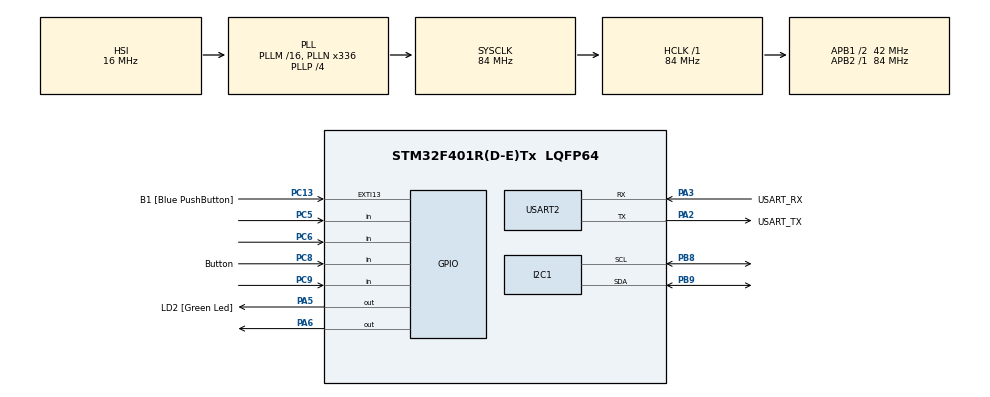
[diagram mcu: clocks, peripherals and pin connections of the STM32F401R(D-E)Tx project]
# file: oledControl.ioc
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Mcu.Family=STM32F4
Mcu.Name=STM32F401R(D-E)Tx
Mcu.Package=LQFP64
NVIC.PriorityGroup=NVIC_PRIORITYGROUP_0
PA13.GPIO_Label=TMS
PA13.Mode=Serial_Wire
PA13.Signal=SYS_JTMS-SWDIO
PA14.GPIO_Label=TCK
PA14.Mode=Serial_Wire
PA14.Signal=SYS_JTCK-SWCLK
PA2.GPIO_Label=USART_TX
PA2.GPIO_Mode=GPIO_MODE_AF_PP
PA2.GPIO_PuPd=GPIO_NOPULL
PA2.GPIO_Speed=GPIO_SPEED_FREQ_LOW
PA2.Mode=Asynchronous
PA2.Signal=USART2_TX
PA3.GPIO_Label=USART_RX
PA3.GPIO_Mode=GPIO_MODE_AF_PP
PA3.GPIO_PuPd=GPIO_NOPULL
PA3.GPIO_Speed=GPIO_SPEED_FREQ_LOW
PA3.Mode=Asynchronous
PA3.Signal=USART2_RX
PA5.GPIO_Label=LD2 [Green Led]
PA5.GPIO_Mode=GPIO_MODE_OUTPUT_PP
PA5.GPIO_PuPd=GPIO_NOPULL
PA5.GPIO_Speed=GPIO_SPEED_FREQ_LOW
PA5.PinState=GPIO_PIN_RESET
PA5.Signal=GPIO_Output
PA6.Signal=GPIO_Output
PB3.GPIO_Label=SWO
PB3.Signal=SYS_JTDO-SWO
PB8.Mode=I2C
PB8.Signal=I2C1_SCL
PB9.Mode=I2C
PB9.Signal=I2C1_SDA
PC13-ANTI_TAMP.GPIO_Label=B1 [Blue PushButton]
PC13-ANTI_TAMP.GPIO_ModeDefaultEXTI=GPIO_MODE_IT_FALLING
PC13-ANTI_TAMP.GPIO_PuPd=GPIO_NOPULL
PC13-ANTI_TAMP.Signal=GPXTI13
PC14-OSC32_IN.Mode=LSE-External-Oscillator
PC14-OSC32_IN.Signal=RCC_OSC32_IN
PC15-OSC32_OUT.Mode=LSE-External-Oscillator
PC15-OSC32_OUT.Signal=RCC_OSC32_OUT
PC5.GPIO_PuPd=GPIO_PULLDOWN
PC5.Signal=GPIO_Input
PC6.GPIO_PuPd=GPIO_PULLDOWN
PC6.Signal=GPIO_Input
PC8.GPIO_Label=Button
PC8.GPIO_PuPd=GPIO_PULLDOWN
PC8.Signal=GPIO_Input
PC9.GPIO_PuPd=GPIO_PULLDOWN
PC9.Signal=GPIO_Input
PH0\ -\ OSC_IN.Mode=HSE-External-Clock-Source
PH0\ -\ OSC_IN.Signal=RCC_OSC_IN
PH1\ -\ OSC_OUT.Mode=HSE-External-Clock-Source
PH1\ -\ OSC_OUT.Signal=RCC_OSC_OUT
ProjectManager.HeapSize=0x200
ProjectManager.StackSize=0x400
ProjectManager.TargetToolchain=STM32CubeIDE
RCC.48MHZClocksFreq_Value=48000000
RCC.AHBFreq_Value=84000000
RCC.APB1CLKDivider=RCC_HCLK_DIV2
RCC.APB1Freq_Value=42000000
RCC.APB1TimFreq_Value=84000000
RCC.APB2Freq_Value=84000000
RCC.APB2TimFreq_Value=84000000
RCC.CortexFreq_Value=84000000
RCC.HCLKFreq_Value=84000000
RCC.HSE_VALUE=8000000
RCC.HSI_VALUE=16000000
RCC.PLLN=336
RCC.PLLP=RCC_PLLP_DIV4
RCC.PLLQ=7
RCC.SYSCLKFreq_VALUE=84000000
RCC.SYSCLKSource=RCC_SYSCLKSOURCE_PLLCLK
RCC.VCOOutputFreq_Value=336000000
USART2.VirtualMode=VM_ASYNC
board=NUCLEO-F401RE

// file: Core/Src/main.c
/* USER CODE BEGIN Header */
/**
  ******************************************************************************
  * @file           : main.c
  * @brief          : Main program body
  ******************************************************************************
  * @attention
  *
  * Copyright (c) 2025 STMicroelectronics.
  * All rights reserved.
  *
  * This software is licensed under terms that can be found in the LICENSE file
  * in the root directory of this software component.
  * If no LICENSE file comes with this software, it is provided AS-IS.
  *
  ******************************************************************************
  */
/* USER CODE END Header */
#include "main.h"
#include "game.h"
#include "render.h"
#include "input.h"
#include "animation.h"
#include "sprites.h"

I2C_HandleTypeDef hi2c1;

UART_HandleTypeDef huart2;

void SystemClock_Config(void);
static void MX_GPIO_Init(void);
static void MX_USART2_UART_Init(void);
static void MX_I2C1_Init(void);

int main(void)
{

  /* MCU Configuration--------------------------------------------------------*/

  /* Reset of all peripherals, Initializes the Flash interface and the Systick. */
  HAL_Init();

  /* Configure the system clock */
  SystemClock_Config();

  /* Initialize all configured peripherals */
  MX_GPIO_Init();
  MX_USART2_UART_Init();
  MX_I2C1_Init();
  /* USER CODE BEGIN 2 */
  game Game;
  game_init(&Game, 60,60,60);

  render_Init();

  input Input;
  input_init(&Input);

  SpriteFrame healSF[8];
  Sprite* healSprites[] = {
          sprites_arr[heal1],sprites_arr[heal2],
          sprites_arr[heal3],sprites_arr[heal4],
          sprites_arr[heal5],sprites_arr[heal6],
          sprites_arr[heal7],sprites_arr[heal8]
  };
  int healKeys[] = {0,1,2,3,4,5,6,7};
  int healX[] = {0,0,0,0,0,0,0,0};
  int healY[] = {0,0,0,0,0,0,0,0};
  int healW[] = {32, 32, 32, 32, 32, 32, 32, 32};
  int healH[] = {32, 32, 32, 32, 32, 32, 32, 32};

  animation anime;
  SpriteFrame_SetInit(healSF, 8, healSprites, healKeys, healX, healY, healW, healH);
  animation_Init(&anime, healSF, 8);
  //animation_LoadMedia(&smiley, smileyFrames);
  int ani_flag = 0;
  /* USER CODE END 2 */

  /* Infinite loop */
  while (1)
  {

    /* USER CODE BEGIN 3 */
      render_Start();
      Input.button_check(&Game);
      int state1 = HAL_GPIO_ReadPin(GPIOC, GPIO_PIN_5);
      if (state1) {
          ani_flag = 1;
      }
      if (ani_flag) {
          ani_flag = anime.animation_Play(&anime);
      }
      render_DisplayScreen(&Game);
      render_End();
      HAL_Delay(50);
  }
  /* USER CODE END 3 */
}

void SystemClock_Config(void)
{
  RCC_OscInitTypeDef RCC_OscInitStruct = {0};
  RCC_ClkInitTypeDef RCC_ClkInitStruct = {0};

  /** Configure the main internal regulator output voltage
  */
  __HAL_RCC_PWR_CLK_ENABLE();
  __HAL_PWR_VOLTAGESCALING_CONFIG(PWR_REGULATOR_VOLTAGE_SCALE2);

  /** Initializes the RCC Oscillators according to the specified parameters
  * in the RCC_OscInitTypeDef structure.
  */
  RCC_OscInitStruct.OscillatorType = RCC_OSCILLATORTYPE_HSI;
  RCC_OscInitStruct.HSIState = RCC_HSI_ON;
  RCC_OscInitStruct.HSICalibrationValue = RCC_HSICALIBRATION_DEFAULT;
  RCC_OscInitStruct.PLL.PLLState = RCC_PLL_ON;
  RCC_OscInitStruct.PLL.PLLSource = RCC_PLLSOURCE_HSI;
  RCC_OscInitStruct.PLL.PLLM = 16;
  RCC_OscInitStruct.PLL.PLLN = 336;
  RCC_OscInitStruct.PLL.PLLP = RCC_PLLP_DIV4;
  RCC_OscInitStruct.PLL.PLLQ = 7;
  if (HAL_RCC_OscConfig(&RCC_OscInitStruct) != HAL_OK)
  {
    Error_Handler();
  }

  /** Initializes the CPU, AHB and APB buses clocks
  */
  RCC_ClkInitStruct.ClockType = RCC_CLOCKTYPE_HCLK|RCC_CLOCKTYPE_SYSCLK
                              |RCC_CLOCKTYPE_PCLK1|RCC_CLOCKTYPE_PCLK2;
  RCC_ClkInitStruct.SYSCLKSource = RCC_SYSCLKSOURCE_PLLCLK;
  RCC_ClkInitStruct.AHBCLKDivider = RCC_SYSCLK_DIV1;
  RCC_ClkInitStruct.APB1CLKDivider = RCC_HCLK_DIV2;
  RCC_ClkInitStruct.APB2CLKDivider = RCC_HCLK_DIV1;

  if (HAL_RCC_ClockConfig(&RCC_ClkInitStruct, FLASH_LATENCY_2) != HAL_OK)
  {
    Error_Handler();
  }
}

static void MX_I2C1_Init(void)
{

  hi2c1.Instance = I2C1;
  hi2c1.Init.ClockSpeed = 100000;
  hi2c1.Init.DutyCycle = I2C_DUTYCYCLE_2;
  hi2c1.Init.OwnAddress1 = 0;
  hi2c1.Init.AddressingMode = I2C_ADDRESSINGMODE_7BIT;
  hi2c1.Init.DualAddressMode = I2C_DUALADDRESS_DISABLE;
  hi2c1.Init.OwnAddress2 = 0;
  hi2c1.Init.GeneralCallMode = I2C_GENERALCALL_DISABLE;
  hi2c1.Init.NoStretchMode = I2C_NOSTRETCH_DISABLE;
  if (HAL_I2C_Init(&hi2c1) != HAL_OK)
  {
    Error_Handler();
  }

}

static void MX_USART2_UART_Init(void)
{

  huart2.Instance = USART2;
  huart2.Init.BaudRate = 115200;
  huart2.Init.WordLength = UART_WORDLENGTH_8B;
  huart2.Init.StopBits = UART_STOPBITS_1;
  huart2.Init.Parity = UART_PARITY_NONE;
  huart2.Init.Mode = UART_MODE_TX_RX;
  huart2.Init.HwFlowCtl = UART_HWCONTROL_NONE;
  huart2.Init.OverSampling = UART_OVERSAMPLING_16;
  if (HAL_UART_Init(&huart2) != HAL_OK)
  {
    Error_Handler();
  }

}

static void MX_GPIO_Init(void)
{
  GPIO_InitTypeDef GPIO_InitStruct = {0};

  /* GPIO Ports Clock Enable */
  __HAL_RCC_GPIOC_CLK_ENABLE();
  __HAL_RCC_GPIOH_CLK_ENABLE();
  __HAL_RCC_GPIOA_CLK_ENABLE();
  __HAL_RCC_GPIOB_CLK_ENABLE();

  /*Configure GPIO pin Output Level */
  HAL_GPIO_WritePin(GPIOA, LD2_Pin|GPIO_PIN_6, GPIO_PIN_RESET);

  /*Configure GPIO pin : B1_Pin */
  GPIO_InitStruct.Pin = B1_Pin;
  GPIO_InitStruct.Mode = GPIO_MODE_IT_FALLING;
  GPIO_InitStruct.Pull = GPIO_NOPULL;
  HAL_GPIO_Init(B1_GPIO_Port, &GPIO_InitStruct);

  /*Configure GPIO pins : LD2_Pin PA6 */
  GPIO_InitStruct.Pin = LD2_Pin|GPIO_PIN_6;
  GPIO_InitStruct.Mode = GPIO_MODE_OUTPUT_PP;
  GPIO_InitStruct.Pull = GPIO_NOPULL;
  GPIO_InitStruct.Speed = GPIO_SPEED_FREQ_LOW;
  HAL_GPIO_Init(GPIOA, &GPIO_InitStruct);

  /*Configure GPIO pins : PC5 PC6 Button_Pin PC9 */
  GPIO_InitStruct.Pin = GPIO_PIN_5|GPIO_PIN_6|Button_Pin|GPIO_PIN_9;
  GPIO_InitStruct.Mode = GPIO_MODE_INPUT;
  GPIO_InitStruct.Pull = GPIO_PULLDOWN;
  HAL_GPIO_Init(GPIOC, &GPIO_InitStruct);

}

void Error_Handler(void)
{
  __disable_irq();
  while (1)
  {
  }
}
